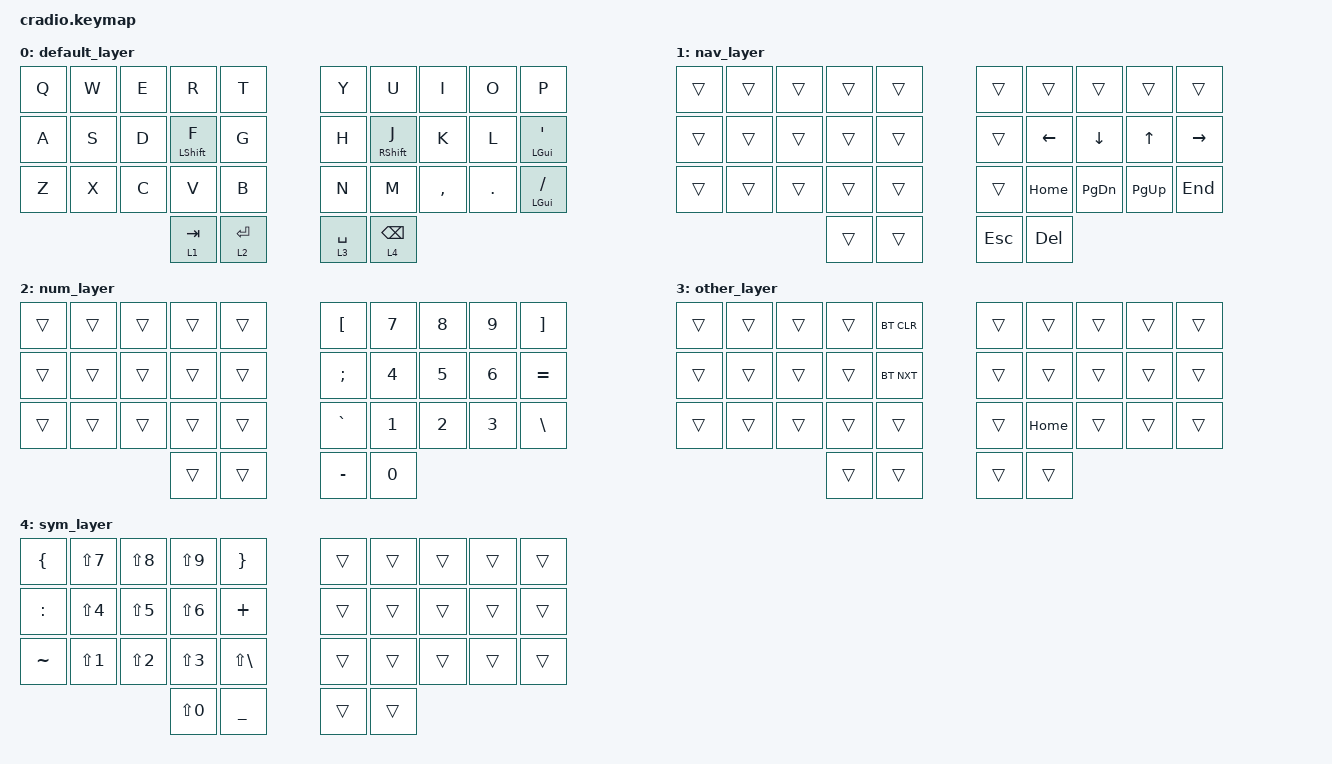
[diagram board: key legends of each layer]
/*
 * Copyright (c) 2020 The ZMK Contributors
 *
 * SPDX-License-Identifier: MIT
 */

#undef ZMK_BEHAVIORS_KEEP_ALL

#include <behaviors.dtsi>
#include <dt-bindings/zmk/bt.h>
#include <dt-bindings/zmk/keys.h>

#define NAV_L 1
#define OTHER_L 2
#define NUM_L 3
#define SYM_L 4

// Using layer taps on thumbs, having quick tap as well helps w/ repeating space/backspace

&lt { quick-tap-ms = <200>; };

/ {
    behaviors {
        hm: homerow_mods {
            compatible = "zmk,behavior-hold-tap";
            #binding-cells = <2>;
            tapping-term-ms = <200>;
            flavor = "tap-preferred";
            bindings = <&kp>, <&kp>;
        };
    };

    keymap {
        compatible = "zmk,keymap";

        default_layer {
            bindings = <
&kp Q  &kp W  &kp E  &kp R        &kp T          &kp Y        &kp U        &kp I      &kp O    &kp P
&kp A  &kp S  &kp D  &hm LSHFT F  &kp G          &kp H        &hm RSHFT J  &kp K      &kp L    &hm LGUI SQT
&kp Z  &kp X  &kp C  &kp V        &kp B          &kp N        &kp M        &kp COMMA  &kp DOT  &hm LGUI FSLH
                     &lt 1 TAB    &lt 2 ENTER    &lt 3 SPACE  &lt 4 BSPC
            >;
        };

        nav_layer {
            bindings = <
&trans  &trans  &trans  &trans  &trans    &trans   &trans    &trans     &trans     &trans
&trans  &trans  &trans  &trans  &trans    &trans   &kp LEFT  &kp DOWN   &kp UP     &kp RIGHT
&trans  &trans  &trans  &trans  &trans    &trans   &kp HOME  &kp PG_DN  &kp PG_UP  &kp END
                        &trans  &trans    &kp ESC  &kp DEL
            >;
        };

        num_layer {
            bindings = <
&trans  &trans  &trans  &trans  &trans    &kp LBKT   &kp N7  &kp N8  &kp N9  &kp RBKT
&trans  &trans  &trans  &trans  &trans    &kp SEMI   &kp N4  &kp N5  &kp N6  &kp EQUAL
&trans  &trans  &trans  &trans  &trans    &kp GRAVE  &kp N1  &kp N2  &kp N3  &kp BSLH
                        &trans  &trans    &kp MINUS  &kp N0
            >;
        };

        other_layer {
            bindings = <
&trans  &trans  &trans  &trans  &bt BT_CLR    &trans  &trans    &trans  &trans  &trans
&trans  &trans  &trans  &trans  &bt BT_NXT    &trans  &trans    &trans  &trans  &trans
&trans  &trans  &trans  &trans  &trans        &trans  &kp HOME  &trans  &trans  &trans
                        &trans  &trans        &trans  &trans
            >;
        };

        sym_layer {
            bindings = <
&kp LBRC   &kp LS(N7)  &kp LS(N8)  &kp LS(N9)  &kp RBRC        &trans  &trans  &trans  &trans  &trans
&kp COLON  &kp LS(N4)  &kp LS(N5)  &kp LS(N6)  &kp PLUS        &trans  &trans  &trans  &trans  &trans
&kp TILDE  &kp LS(N1)  &kp LS(N2)  &kp LS(N3)  &kp LS(BSLH)    &trans  &trans  &trans  &trans  &trans
                                   &kp LS(N0)  &kp UNDER       &trans  &trans
            >;
        };
    };
};
